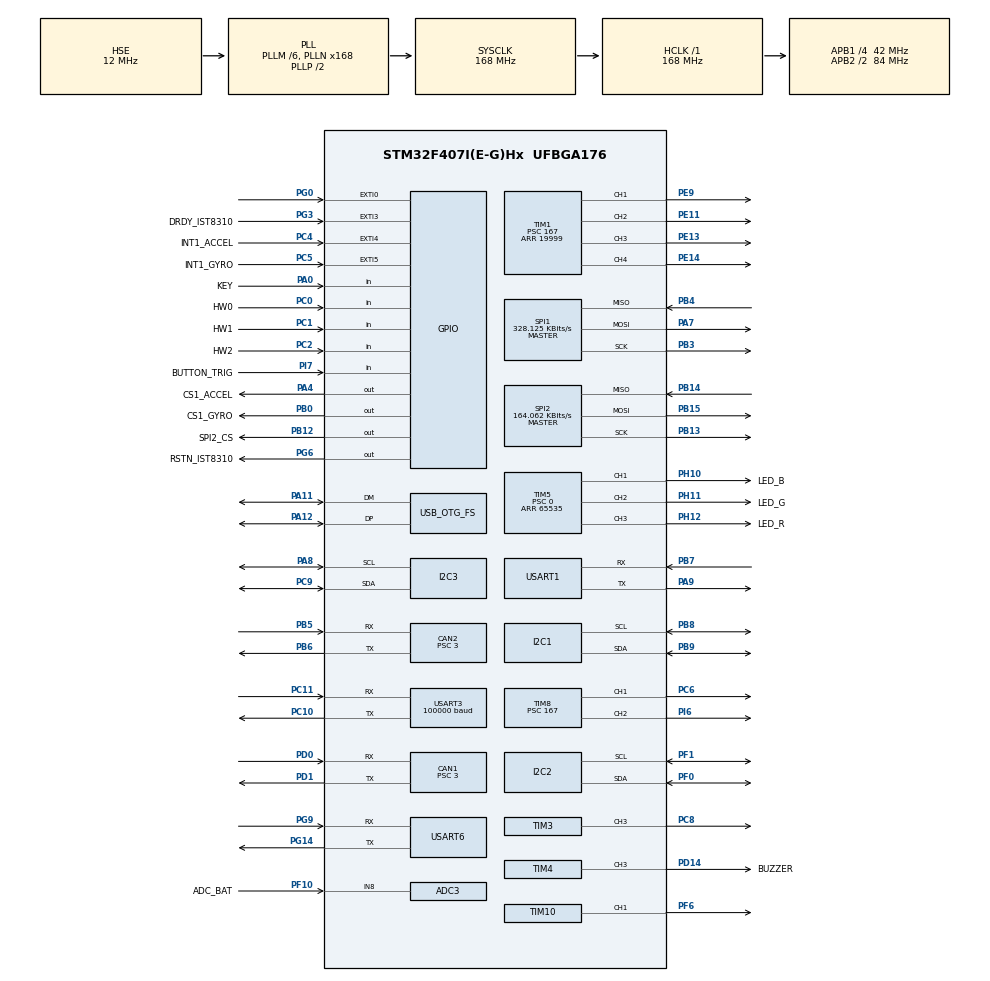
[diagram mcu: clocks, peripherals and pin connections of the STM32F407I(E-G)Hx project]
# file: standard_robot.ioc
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ADC1.Channel-0\#ChannelRegularConversion=ADC_CHANNEL_TEMPSENSOR
ADC1.ClockPrescaler=ADC_CLOCK_SYNC_PCLK_DIV6
ADC1.NbrOfConversionFlag=1
ADC1.Rank-0\#ChannelRegularConversion=1
ADC1.SamplingTime-0\#ChannelRegularConversion=ADC_SAMPLETIME_3CYCLES
ADC1.master=1
ADC3.Channel-0\#ChannelRegularConversion=ADC_CHANNEL_8
ADC3.ClockPrescaler=ADC_CLOCK_SYNC_PCLK_DIV6
ADC3.NbrOfConversionFlag=1
ADC3.Rank-0\#ChannelRegularConversion=1
ADC3.SamplingTime-0\#ChannelRegularConversion=ADC_SAMPLETIME_3CYCLES
CAN1.BS1=CAN_BS1_10TQ
CAN1.BS2=CAN_BS2_3TQ
CAN1.CalculateTimeQuantum=71.42857142857143
CAN1.Prescaler=3
CAN2.BS1=CAN_BS1_10TQ
CAN2.BS2=CAN_BS2_3TQ
CAN2.CalculateTimeQuantum=71.42857142857143
CAN2.Prescaler=3
Dma.I2C2_TX.2.Direction=DMA_MEMORY_TO_PERIPH
Dma.I2C2_TX.2.FIFOMode=DMA_FIFOMODE_DISABLE
Dma.I2C2_TX.2.Instance=DMA1_Stream7
Dma.I2C2_TX.2.MemDataAlignment=DMA_MDATAALIGN_BYTE
Dma.I2C2_TX.2.MemInc=DMA_MINC_ENABLE
Dma.I2C2_TX.2.Mode=DMA_NORMAL
Dma.I2C2_TX.2.PeriphDataAlignment=DMA_PDATAALIGN_BYTE
Dma.I2C2_TX.2.PeriphInc=DMA_PINC_DISABLE
Dma.I2C2_TX.2.Priority=DMA_PRIORITY_HIGH
Dma.Request0=SPI1_RX
Dma.Request1=SPI1_TX
Dma.Request2=I2C2_TX
Dma.Request3=USART3_RX
Dma.Request4=USART6_RX
Dma.Request5=USART6_TX
Dma.Request6=USART1_TX
Dma.Request7=USART1_RX
Dma.SPI1_RX.0.Direction=DMA_PERIPH_TO_MEMORY
Dma.SPI1_RX.0.FIFOMode=DMA_FIFOMODE_DISABLE
Dma.SPI1_RX.0.Instance=DMA2_Stream2
Dma.SPI1_RX.0.MemDataAlignment=DMA_MDATAALIGN_BYTE
Dma.SPI1_RX.0.MemInc=DMA_MINC_ENABLE
Dma.SPI1_RX.0.Mode=DMA_NORMAL
Dma.SPI1_RX.0.PeriphDataAlignment=DMA_PDATAALIGN_BYTE
Dma.SPI1_RX.0.PeriphInc=DMA_PINC_DISABLE
Dma.SPI1_RX.0.Priority=DMA_PRIORITY_VERY_HIGH
Dma.SPI1_TX.1.Direction=DMA_MEMORY_TO_PERIPH
Dma.SPI1_TX.1.FIFOMode=DMA_FIFOMODE_DISABLE
Dma.SPI1_TX.1.Instance=DMA2_Stream3
Dma.SPI1_TX.1.MemDataAlignment=DMA_MDATAALIGN_BYTE
Dma.SPI1_TX.1.MemInc=DMA_MINC_ENABLE
Dma.SPI1_TX.1.Mode=DMA_NORMAL
Dma.SPI1_TX.1.PeriphDataAlignment=DMA_PDATAALIGN_BYTE
Dma.SPI1_TX.1.PeriphInc=DMA_PINC_DISABLE
Dma.SPI1_TX.1.Priority=DMA_PRIORITY_HIGH
Dma.USART1_RX.7.Direction=DMA_PERIPH_TO_MEMORY
Dma.USART1_RX.7.FIFOMode=DMA_FIFOMODE_DISABLE
Dma.USART1_RX.7.Instance=DMA2_Stream5
Dma.USART1_RX.7.MemDataAlignment=DMA_MDATAALIGN_BYTE
Dma.USART1_RX.7.MemInc=DMA_MINC_ENABLE
Dma.USART1_RX.7.Mode=DMA_NORMAL
Dma.USART1_RX.7.PeriphDataAlignment=DMA_PDATAALIGN_BYTE
Dma.USART1_RX.7.PeriphInc=DMA_PINC_DISABLE
Dma.USART1_RX.7.Priority=DMA_PRIORITY_MEDIUM
Dma.USART1_TX.6.Direction=DMA_MEMORY_TO_PERIPH
Dma.USART1_TX.6.FIFOMode=DMA_FIFOMODE_DISABLE
Dma.USART1_TX.6.Instance=DMA2_Stream7
Dma.USART1_TX.6.MemDataAlignment=DMA_MDATAALIGN_BYTE
Dma.USART1_TX.6.MemInc=DMA_MINC_ENABLE
Dma.USART1_TX.6.Mode=DMA_NORMAL
Dma.USART1_TX.6.PeriphDataAlignment=DMA_PDATAALIGN_BYTE
Dma.USART1_TX.6.PeriphInc=DMA_PINC_DISABLE
Dma.USART1_TX.6.Priority=DMA_PRIORITY_MEDIUM
Dma.USART3_RX.3.Direction=DMA_PERIPH_TO_MEMORY
Dma.USART3_RX.3.FIFOMode=DMA_FIFOMODE_DISABLE
Dma.USART3_RX.3.Instance=DMA1_Stream1
Dma.USART3_RX.3.MemDataAlignment=DMA_MDATAALIGN_BYTE
Dma.USART3_RX.3.MemInc=DMA_MINC_ENABLE
Dma.USART3_RX.3.Mode=DMA_NORMAL
Dma.USART3_RX.3.PeriphDataAlignment=DMA_PDATAALIGN_BYTE
Dma.USART3_RX.3.PeriphInc=DMA_PINC_DISABLE
Dma.USART3_RX.3.Priority=DMA_PRIORITY_HIGH
Dma.USART6_RX.4.Direction=DMA_PERIPH_TO_MEMORY
Dma.USART6_RX.4.FIFOMode=DMA_FIFOMODE_DISABLE
Dma.USART6_RX.4.Instance=DMA2_Stream1
Dma.USART6_RX.4.MemDataAlignment=DMA_MDATAALIGN_BYTE
Dma.USART6_RX.4.MemInc=DMA_MINC_ENABLE
Dma.USART6_RX.4.Mode=DMA_NORMAL
Dma.USART6_RX.4.PeriphDataAlignment=DMA_PDATAALIGN_BYTE
Dma.USART6_RX.4.PeriphInc=DMA_PINC_DISABLE
Dma.USART6_RX.4.Priority=DMA_PRIORITY_HIGH
Dma.USART6_TX.5.Direction=DMA_MEMORY_TO_PERIPH
Dma.USART6_TX.5.FIFOMode=DMA_FIFOMODE_DISABLE
Dma.USART6_TX.5.Instance=DMA2_Stream6
Dma.USART6_TX.5.MemDataAlignment=DMA_MDATAALIGN_BYTE
Dma.USART6_TX.5.MemInc=DMA_MINC_ENABLE
Dma.USART6_TX.5.Mode=DMA_NORMAL
Dma.USART6_TX.5.PeriphDataAlignment=DMA_PDATAALIGN_BYTE
Dma.USART6_TX.5.PeriphInc=DMA_PINC_DISABLE
Dma.USART6_TX.5.Priority=DMA_PRIORITY_MEDIUM
FREERTOS.INCLUDE_eTaskGetState=1
FREERTOS.INCLUDE_pcTaskGetTaskName=1
FREERTOS.INCLUDE_uxTaskGetStackHighWaterMark=1
FREERTOS.INCLUDE_vTaskCleanUpResources=1
FREERTOS.INCLUDE_vTaskDelayUntil=1
FREERTOS.INCLUDE_xEventGroupSetBitFromISR=1
FREERTOS.INCLUDE_xQueueGetMutexHolder=1
FREERTOS.INCLUDE_xSemaphoreGetMutexHolder=1
FREERTOS.INCLUDE_xTaskAbortDelay=1
FREERTOS.INCLUDE_xTaskGetCurrentTaskHandle=1
FREERTOS.INCLUDE_xTaskGetHandle=1
FREERTOS.INCLUDE_xTimerPendFunctionCall=1
FREERTOS.Tasks01=test,24,128,test_task,As weak,NULL,Dynamic,NULL,NULL
FREERTOS.configTOTAL_HEAP_SIZE=24576
I2C1.I2C_Mode=I2C_Fast
I2C2.I2C_Mode=I2C_Fast
I2C3.I2C_Mode=I2C_Fast
Mcu.Family=STM32F4
Mcu.Name=STM32F407I(E-G)Hx
Mcu.Package=UFBGA176
NVIC.CAN1_RX0_IRQn=true\:6\:0\:true\:false\:true\:true\:true\:true\:true
NVIC.CAN2_RX0_IRQn=true\:6\:0\:true\:false\:true\:true\:true\:true\:true
NVIC.DMA1_Stream1_IRQn=true\:5\:0\:true\:false\:false\:true\:false\:false\:true
NVIC.DMA1_Stream7_IRQn=true\:5\:0\:true\:false\:false\:true\:false\:true\:true
NVIC.DMA2_Stream1_IRQn=true\:5\:0\:true\:false\:true\:true\:false\:true\:true
NVIC.DMA2_Stream2_IRQn=true\:5\:0\:true\:false\:false\:true\:false\:true\:true
NVIC.DMA2_Stream3_IRQn=true\:5\:0\:true\:false\:false\:true\:false\:true\:true
NVIC.DMA2_Stream5_IRQn=true\:5\:0\:false\:false\:true\:true\:false\:true\:true
NVIC.DMA2_Stream6_IRQn=true\:5\:0\:true\:false\:true\:true\:false\:true\:true
NVIC.DMA2_Stream7_IRQn=true\:5\:0\:true\:false\:true\:true\:false\:true\:true
NVIC.EXTI0_IRQn=true\:6\:0\:true\:false\:true\:true\:true\:true\:true
NVIC.EXTI3_IRQn=true\:5\:0\:true\:false\:true\:true\:true\:true\:true
NVIC.EXTI4_IRQn=true\:5\:0\:true\:false\:true\:true\:true\:true\:true
NVIC.EXTI9_5_IRQn=true\:5\:0\:true\:false\:true\:true\:true\:true\:true
NVIC.OTG_FS_IRQn=true\:5\:0\:false\:false\:true\:true\:false\:true\:true
NVIC.PriorityGroup=NVIC_PRIORITYGROUP_4
NVIC.USART1_IRQn=true\:5\:0\:false\:false\:true\:true\:true\:true\:true
NVIC.USART3_IRQn=true\:4\:0\:true\:false\:false\:false\:true\:true\:true
NVIC.USART6_IRQn=true\:5\:0\:true\:false\:false\:true\:true\:true\:true
PA0-WKUP.GPIO_Label=KEY
PA0-WKUP.GPIO_PuPd=GPIO_PULLUP
PA0-WKUP.Signal=GPIO_Input
PA11.Mode=Device_Only
PA11.Signal=USB_OTG_FS_DM
PA12.Mode=Device_Only
PA12.Signal=USB_OTG_FS_DP
PA13.Mode=Serial_Wire
PA13.Signal=SYS_JTMS-SWDIO
PA14.Mode=Serial_Wire
PA14.Signal=SYS_JTCK-SWCLK
PA4.GPIO_Label=CS1_ACCEL
PA4.GPIO_PuPd=GPIO_PULLUP
PA4.GPIO_Speed=GPIO_SPEED_FREQ_HIGH
PA4.PinState=GPIO_PIN_SET
PA4.Signal=GPIO_Output
PA7.GPIO_PuPd=GPIO_PULLUP
PA7.Mode=Full_Duplex_Master
PA7.Signal=SPI1_MOSI
PA8.Mode=I2C
PA8.Signal=I2C3_SCL
PA9.Mode=Asynchronous
PA9.Signal=USART1_TX
PB0.GPIO_Label=CS1_GYRO
PB0.GPIO_PuPd=GPIO_PULLUP
PB0.GPIO_Speed=GPIO_SPEED_FREQ_HIGH
PB0.PinState=GPIO_PIN_SET
PB0.Signal=GPIO_Output
PB12.GPIO_Label=SPI2_CS
PB12.GPIO_PuPd=GPIO_PULLUP
PB12.GPIO_Speed=GPIO_SPEED_FREQ_MEDIUM
PB12.PinState=GPIO_PIN_SET
PB12.Signal=GPIO_Output
PB13.GPIO_PuPd=GPIO_PULLUP
PB13.Mode=Full_Duplex_Master
PB13.Signal=SPI2_SCK
PB14.GPIO_PuPd=GPIO_PULLUP
PB14.Mode=Full_Duplex_Master
PB14.Signal=SPI2_MISO
PB15.GPIO_PuPd=GPIO_PULLUP
PB15.Mode=Full_Duplex_Master
PB15.Signal=SPI2_MOSI
PB3.GPIO_PuPd=GPIO_PULLUP
PB3.Mode=Full_Duplex_Master
PB3.Signal=SPI1_SCK
PB4.GPIO_PuPd=GPIO_PULLUP
PB4.Mode=Full_Duplex_Master
PB4.Signal=SPI1_MISO
PB5.Mode=Slave
PB5.Signal=CAN2_RX
PB6.Mode=Slave
PB6.Signal=CAN2_TX
PB7.Mode=Asynchronous
PB7.Signal=USART1_RX
PB8.Mode=I2C
PB8.Signal=I2C1_SCL
PB9.Mode=I2C
PB9.Signal=I2C1_SDA
PC0.GPIO_Label=HW0
PC0.Signal=GPIO_Input
PC1.GPIO_Label=HW1
PC1.Signal=GPIO_Input
PC10.Mode=Asynchronous
PC10.Signal=USART3_TX
PC11.Mode=Asynchronous
PC11.Signal=USART3_RX
PC2.GPIO_Label=HW2
PC2.Signal=GPIO_Input
PC4.GPIO_Label=INT1_ACCEL
PC4.GPIO_ModeDefaultEXTI=GPIO_MODE_IT_FALLING
PC4.GPIO_PuPd=GPIO_PULLUP
PC4.Signal=GPXTI4
PC5.GPIO_Label=INT1_GYRO
PC5.GPIO_ModeDefaultEXTI=GPIO_MODE_IT_FALLING
PC5.GPIO_PuPd=GPIO_PULLUP
PC5.Signal=GPXTI5
PC6.GPIO_PuPd=GPIO_PULLUP
PC6.GPIO_Speed=GPIO_SPEED_FREQ_HIGH
PC6.Signal=S_TIM8_CH1
PC8.GPIO_PuPd=GPIO_PULLUP
PC8.GPIO_Speed=GPIO_SPEED_FREQ_HIGH
PC8.Signal=S_TIM3_CH3
PC9.Mode=I2C
PC9.Signal=I2C3_SDA
PD0.Mode=Master
PD0.Signal=CAN1_RX
PD1.Mode=Master
PD1.Signal=CAN1_TX
PD14.GPIO_Label=BUZZER
PD14.GPIO_PuPd=GPIO_PULLUP
PD14.GPIO_Speed=GPIO_SPEED_FREQ_VERY_HIGH
PD14.Signal=S_TIM4_CH3
PE11.GPIO_PuPd=GPIO_PULLUP
PE11.GPIO_Speed=GPIO_SPEED_FREQ_HIGH
PE11.Signal=S_TIM1_CH2
PE13.GPIO_PuPd=GPIO_PULLUP
PE13.GPIO_Speed=GPIO_SPEED_FREQ_HIGH
PE13.Signal=S_TIM1_CH3
PE14.GPIO_PuPd=GPIO_PULLUP
PE14.GPIO_Speed=GPIO_SPEED_FREQ_HIGH
PE14.Signal=S_TIM1_CH4
PE9.GPIO_PuPd=GPIO_PULLUP
PE9.GPIO_Speed=GPIO_SPEED_FREQ_HIGH
PE9.Signal=S_TIM1_CH1
PF0.Mode=I2C
PF0.Signal=I2C2_SDA
PF1.Mode=I2C
PF1.Signal=I2C2_SCL
PF10.GPIO_Label=ADC_BAT
PF10.Mode=IN8
PF10.Signal=ADC3_IN8
PF6.GPIO_PuPd=GPIO_PULLUP
PF6.GPIO_Speed=GPIO_SPEED_FREQ_HIGH
PF6.Signal=S_TIM10_CH1
PG0.GPIO_ModeDefaultEXTI=GPIO_MODE_IT_FALLING
PG0.GPIO_PuPd=GPIO_PULLUP
PG0.Signal=GPXTI0
PG14.Mode=Asynchronous
PG14.Signal=USART6_TX
PG3.GPIO_Label=DRDY_IST8310
PG3.GPIO_ModeDefaultEXTI=GPIO_MODE_IT_FALLING
PG3.GPIO_PuPd=GPIO_PULLUP
PG3.Signal=GPXTI3
PG6.GPIO_Label=RSTN_IST8310
PG6.GPIO_PuPd=GPIO_PULLUP
PG6.GPIO_Speed=GPIO_SPEED_FREQ_MEDIUM
PG6.PinState=GPIO_PIN_SET
PG6.Signal=GPIO_Output
PG9.Mode=Asynchronous
PG9.Signal=USART6_RX
PH0-OSC_IN.Mode=HSE-External-Oscillator
PH0-OSC_IN.Signal=RCC_OSC_IN
PH1-OSC_OUT.Mode=HSE-External-Oscillator
PH1-OSC_OUT.Signal=RCC_OSC_OUT
PH10.GPIO_Label=LED_B
PH10.GPIO_PuPd=GPIO_PULLUP
PH10.GPIO_Speed=GPIO_SPEED_FREQ_HIGH
PH10.Signal=S_TIM5_CH1
PH11.GPIO_Label=LED_G
PH11.GPIO_PuPd=GPIO_PULLUP
PH11.GPIO_Speed=GPIO_SPEED_FREQ_HIGH
PH11.Signal=S_TIM5_CH2
PH12.GPIO_Label=LED_R
PH12.GPIO_PuPd=GPIO_PULLUP
PH12.GPIO_Speed=GPIO_SPEED_FREQ_HIGH
PH12.Signal=S_TIM5_CH3
PI6.GPIO_PuPd=GPIO_PULLUP
PI6.GPIO_Speed=GPIO_SPEED_FREQ_HIGH
PI6.Signal=S_TIM8_CH2
PI7.GPIO_Label=BUTTON_TRIG
PI7.GPIO_PuPd=GPIO_PULLUP
PI7.Signal=GPIO_Input
ProjectManager.HeapSize=0x2000
ProjectManager.StackSize=0x2000
ProjectManager.TargetToolchain=MDK-ARM V5
RCC.48MHZClocksFreq_Value=48000000
RCC.AHBFreq_Value=168000000
RCC.APB1CLKDivider=RCC_HCLK_DIV4
RCC.APB1Freq_Value=42000000
RCC.APB1TimFreq_Value=84000000
RCC.APB2CLKDivider=RCC_HCLK_DIV2
RCC.APB2Freq_Value=84000000
RCC.APB2TimFreq_Value=168000000
RCC.CortexFreq_Value=168000000
RCC.HCLKFreq_Value=168000000
RCC.HSE_VALUE=12000000
RCC.HSI_VALUE=16000000
RCC.LSE_VALUE=32768
RCC.PLLM=6
RCC.PLLN=168
RCC.PLLQ=7
RCC.RCC_RTC_Clock_SourceVirtual=RCC_RTCCLKSOURCE_HSE_DIV30
RCC.RCC_RTC_Clock_Source_FROM_HSE=RCC_RTCCLKSOURCE_HSE_DIV30
RCC.SYSCLKFreq_VALUE=168000000
RCC.SYSCLKSource=RCC_SYSCLKSOURCE_PLLCLK
RCC.VCOOutputFreq_Value=336000000
RTC.AsynchPrediv=124
RTC.SynchPrediv=3199
SH.S_TIM10_CH1.0=TIM10_CH1,PWM Generation1 CH1
SH.S_TIM1_CH1.0=TIM1_CH1,PWM Generation1 CH1
SH.S_TIM1_CH2.0=TIM1_CH2,PWM Generation2 CH2
SH.S_TIM1_CH3.0=TIM1_CH3,PWM Generation3 CH3
SH.S_TIM1_CH4.0=TIM1_CH4,PWM Generation4 CH4
SH.S_TIM3_CH3.0=TIM3_CH3,PWM Generation3 CH3
SH.S_TIM4_CH3.0=TIM4_CH3,PWM Generation3 CH3
SH.S_TIM5_CH1.0=TIM5_CH1,PWM Generation1 CH1
SH.S_TIM5_CH2.0=TIM5_CH2,PWM Generation2 CH2
SH.S_TIM5_CH3.0=TIM5_CH3,PWM Generation3 CH3
SH.S_TIM8_CH1.0=TIM8_CH1,PWM Generation1 CH1
SH.S_TIM8_CH2.0=TIM8_CH2,PWM Generation2 CH2
SPI1.BaudRatePrescaler=SPI_BAUDRATEPRESCALER_256
SPI1.CLKPhase=SPI_PHASE_2EDGE
SPI1.CLKPolarity=SPI_POLARITY_HIGH
SPI1.CalculateBaudRate=328.125 KBits/s
SPI1.Direction=SPI_DIRECTION_2LINES
SPI1.Mode=SPI_MODE_MASTER
SPI1.VirtualType=VM_MASTER
SPI2.BaudRatePrescaler=SPI_BAUDRATEPRESCALER_256
SPI2.CLKPhase=SPI_PHASE_2EDGE
SPI2.CLKPolarity=SPI_POLARITY_HIGH
SPI2.CalculateBaudRate=164.062 KBits/s
SPI2.Direction=SPI_DIRECTION_2LINES
SPI2.Mode=SPI_MODE_MASTER
SPI2.VirtualType=VM_MASTER
TIM1.Channel-PWM\ Generation1\ CH1=TIM_CHANNEL_1
TIM1.Channel-PWM\ Generation2\ CH2=TIM_CHANNEL_2
TIM1.Channel-PWM\ Generation3\ CH3=TIM_CHANNEL_3
TIM1.Channel-PWM\ Generation4\ CH4=TIM_CHANNEL_4
TIM1.Period=19999
TIM1.Prescaler=167
TIM1.Pulse-PWM\ Generation1\ CH1=1000
TIM1.Pulse-PWM\ Generation2\ CH2=1000
TIM1.Pulse-PWM\ Generation3\ CH3=1000
TIM1.Pulse-PWM\ Generation4\ CH4=1000
TIM10.Channel=TIM_CHANNEL_1
TIM10.Period=4999
TIM3.Channel-PWM\ Generation3\ CH3=TIM_CHANNEL_3
TIM3.Period=8399
TIM4.Channel-PWM\ Generation3\ CH3=TIM_CHANNEL_3
TIM4.Period=65535
TIM4.Prescaler=167
TIM5.Channel-PWM\ Generation1\ CH1=TIM_CHANNEL_1
TIM5.Channel-PWM\ Generation2\ CH2=TIM_CHANNEL_2
TIM5.Channel-PWM\ Generation3\ CH3=TIM_CHANNEL_3
TIM5.Period=65535
TIM5.Prescaler=0
TIM8.Channel-PWM\ Generation1\ CH1=TIM_CHANNEL_1
TIM8.Channel-PWM\ Generation2\ CH2=TIM_CHANNEL_2
TIM8.Period=19999
TIM8.Prescaler=167
TIM8.Pulse-PWM\ Generation1\ CH1=1000
TIM8.Pulse-PWM\ Generation2\ CH2=1000
USART1.VirtualMode=VM_ASYNC
USART3.BaudRate=100000
USART3.Parity=PARITY_EVEN
USART3.VirtualMode=VM_ASYNC
USART6.VirtualMode=VM_ASYNC
USB_DEVICE.CLASS_NAME_FS=CDC
USB_DEVICE.VirtualMode-CDC_FS=Cdc
USB_DEVICE.VirtualModeFS=Cdc_FS
USB_OTG_FS.VirtualMode=Device_Only
VP_ADC1_TempSens_Input.Mode=IN-TempSens
VP_ADC1_Vref_Input.Mode=IN-Vrefint
VP_CRC_VS_CRC.Mode=CRC_Activate
VP_FREERTOS_VS_CMSIS_V1.Mode=CMSIS_V1
VP_RNG_VS_RNG.Mode=RNG_Activate
VP_RTC_VS_RTC_Activate.Mode=RTC_Enabled
VP_TIM10_VS_ClockSourceINT.Mode=Enable_Timer
VP_TIM1_VS_ClockSourceINT.Mode=Internal
VP_TIM3_VS_ClockSourceINT.Mode=Internal
VP_TIM4_VS_ClockSourceINT.Mode=Internal
VP_TIM5_VS_ClockSourceINT.Mode=Internal
VP_TIM8_VS_ClockSourceINT.Mode=Internal
VP_USB_DEVICE_VS_USB_DEVICE_CDC_FS.Mode=CDC_FS
board=custom

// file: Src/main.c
/* USER CODE BEGIN Header */
/**
  ******************************************************************************
  * @file           : main.c
  * @brief          : Main program body
  ******************************************************************************
  * @attention
  *
  * <h2><center>&copy; Copyright (c) 2019 STMicroelectronics.
  * All rights reserved.</center></h2>
  *
  * This software component is licensed by ST under Ultimate Liberty license
  * SLA0044, the "License"; You may not use this file except in compliance with
  * the License. You may obtain a copy of the License at:
  *                             www.st.com/SLA0044
  *
  ******************************************************************************
  */
/* USER CODE END Header */

#include "main.h"
#include "cmsis_os.h"
#include "adc.h"
#include "can.h"
#include "crc.h"
#include "dma.h"
#include "i2c.h"
#include "rng.h"
#include "rtc.h"
#include "spi.h"
#include "tim.h"
#include "usart.h"
#include "usb_device.h"
#include "gpio.h"

/* USER CODE BEGIN Includes */
#include "bsp_can.h"
#include "bsp_delay.h"
#include "bsp_usart.h"
#include "remote_control.h"

#include "calibrate_task.h"
#include "chassis_task.h"
#include "detect_task.h"
#include "gimbal_task.h"
#include "IMU_task.h"
#include "led_flow_task.h"
#include "oled_task.h"
#include "referee_usart_task.h"
#include "usb_task.h"
#include "voltage_task.h"
/* USER CODE END Includes */

void SystemClock_Config(void);
void MX_FREERTOS_Init(void);

int main(void)
{

  /* MCU Configuration--------------------------------------------------------*/

  /* Reset of all peripherals, Initializes the Flash interface and the Systick. */
  HAL_Init();

  /* Configure the system clock */
  SystemClock_Config();

  /* Initialize all configured peripherals */
  MX_GPIO_Init();
  MX_DMA_Init();
  MX_ADC1_Init();
  MX_ADC3_Init();
  MX_CAN1_Init();
  MX_CAN2_Init();
  MX_I2C1_Init();
  MX_SPI1_Init();
  MX_TIM4_Init();
  MX_TIM5_Init();
  MX_USART3_UART_Init();
  MX_TIM8_Init();
  MX_CRC_Init();
  MX_RNG_Init();
  MX_I2C2_Init();
  MX_I2C3_Init();
  MX_RTC_Init();
  MX_SPI2_Init();
  MX_TIM1_Init();
  MX_TIM3_Init();
  MX_TIM10_Init();
  MX_USART1_UART_Init();
  MX_USART6_UART_Init();
  /* USER CODE BEGIN 2 */
    can_filter_init();
    delay_init();
    cali_param_init();
    remote_control_init();
    usart1_tx_dma_init();
  /* USER CODE END 2 */

  /* Call init function for freertos objects (in freertos.c) */
  MX_FREERTOS_Init();

  /* Start scheduler */
  osKernelStart();

  /* We should never get here as control is now taken by the scheduler */

  /* Infinite loop */
  while (1)
  {

  }
}

void SystemClock_Config(void)
{
  RCC_OscInitTypeDef RCC_OscInitStruct = {0};
  RCC_ClkInitTypeDef RCC_ClkInitStruct = {0};
  RCC_PeriphCLKInitTypeDef PeriphClkInitStruct = {0};

  /** Configure the main internal regulator output voltage
  */
  __HAL_RCC_PWR_CLK_ENABLE();
  __HAL_PWR_VOLTAGESCALING_CONFIG(PWR_REGULATOR_VOLTAGE_SCALE1);
  /** Initializes the CPU, AHB and APB busses clocks
  */
  RCC_OscInitStruct.OscillatorType = RCC_OSCILLATORTYPE_HSE;
  RCC_OscInitStruct.HSEState = RCC_HSE_ON;
  RCC_OscInitStruct.PLL.PLLState = RCC_PLL_ON;
  RCC_OscInitStruct.PLL.PLLSource = RCC_PLLSOURCE_HSE;
  RCC_OscInitStruct.PLL.PLLM = 6;
  RCC_OscInitStruct.PLL.PLLN = 168;
  RCC_OscInitStruct.PLL.PLLP = RCC_PLLP_DIV2;
  RCC_OscInitStruct.PLL.PLLQ = 7;
  if (HAL_RCC_OscConfig(&RCC_OscInitStruct) != HAL_OK)
  {
    Error_Handler();
  }
  /** Initializes the CPU, AHB and APB busses clocks
  */
  RCC_ClkInitStruct.ClockType = RCC_CLOCKTYPE_HCLK|RCC_CLOCKTYPE_SYSCLK
                              |RCC_CLOCKTYPE_PCLK1|RCC_CLOCKTYPE_PCLK2;
  RCC_ClkInitStruct.SYSCLKSource = RCC_SYSCLKSOURCE_PLLCLK;
  RCC_ClkInitStruct.AHBCLKDivider = RCC_SYSCLK_DIV1;
  RCC_ClkInitStruct.APB1CLKDivider = RCC_HCLK_DIV4;
  RCC_ClkInitStruct.APB2CLKDivider = RCC_HCLK_DIV2;

  if (HAL_RCC_ClockConfig(&RCC_ClkInitStruct, FLASH_LATENCY_5) != HAL_OK)
  {
    Error_Handler();
  }
  PeriphClkInitStruct.PeriphClockSelection = RCC_PERIPHCLK_RTC;
  PeriphClkInitStruct.RTCClockSelection = RCC_RTCCLKSOURCE_HSE_DIV30;
  if (HAL_RCCEx_PeriphCLKConfig(&PeriphClkInitStruct) != HAL_OK)
  {
    Error_Handler();
  }
}

void Error_Handler(void)
{
}

/************************ (C) COPYRIGHT STMicroelectronics *****END OF FILE****/

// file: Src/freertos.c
/* USER CODE BEGIN Header */
/**
  ******************************************************************************
  * File Name          : freertos.c
  * Description        : Code for freertos applications
  ******************************************************************************
  * @attention
  *
  * <h2><center>&copy; Copyright (c) 2019 STMicroelectronics.
  * All rights reserved.</center></h2>
  *
  * This software component is licensed by ST under Ultimate Liberty license
  * SLA0044, the "License"; You may not use this file except in compliance with
  * the License. You may obtain a copy of the License at:
  *                             www.st.com/SLA0044
  *
  ******************************************************************************
  */
/* USER CODE END Header */

#include "FreeRTOS.h"
#include "task.h"
#include "main.h"
#include "cmsis_os.h"
#include "robot_param.h"

/* USER CODE BEGIN Includes */

#include "calibrate_task.h"
#include "chassis_task.h"
#include "detect_task.h"
#include "gimbal_task.h"
#include "IMU_task.h"
#include "led_flow_task.h"
#include "oled_task.h"
#include "referee_usart_task.h"
#include "usb_task.h"
#include "voltage_task.h"
#include "servo_task.h"
#include "shoot_task.h"
#include "mechanical_arm_task.h"
#include "music_task.h"
#include "develop_task.h"
#include "custom_controller_task.h"
#include "communication_task.h"
/* USER CODE END Includes */

/* USER CODE BEGIN PTD */

osThreadId calibrate_tast_handle;

osThreadId detect_handle;

osThreadId communication_handle;

#if (CHASSIS_TYPE != CHASSIS_NONE)
osThreadId chassisTaskHandle;
#endif

#if (GIMBAL_TYPE != GIMBAL_NONE)
osThreadId gimbalTaskHandle;
#endif

#if (SHOOT_TYPE != SHOOT_NONE)
osThreadId shootTaskHandle;
#endif

#if (MECHANICAL_ARM_TYPE != MECHANICAL_ARM_NONE)
osThreadId mechanical_armTaskHandle;
#endif

#if (CONTROL_TYPE != CUSTOM_CONTROLLER_NONE)
osThreadId customControllerTaskHandle;
#endif

#if (__MUSIC_ON)
osThreadId musicTaskHandle;
#endif

#if (__DEVELOP)
osThreadId developTaskHandle;
#endif

osThreadId imuTaskHandle;

osThreadId led_RGB_flow_handle;

osThreadId oled_handle;

osThreadId referee_usart_task_handle;

osThreadId usb_task_handle;

osThreadId battery_voltage_handle;

osThreadId servo_task_handle;

/* USER CODE END PTD */

osThreadId testHandle;

void test_task(void const * argument);

extern void MX_USB_DEVICE_Init(void);
void MX_FREERTOS_Init(void); /* (MISRA C 2004 rule 8.1) */

/* GetIdleTaskMemory prototype (linked to static allocation support) */
void vApplicationGetIdleTaskMemory( StaticTask_t **ppxIdleTaskTCBBuffer, StackType_t **ppxIdleTaskStackBuffer, uint32_t *pulIdleTaskStackSize );

/* GetTimerTaskMemory prototype (linked to static allocation support) */
void vApplicationGetTimerTaskMemory( StaticTask_t **ppxTimerTaskTCBBuffer, StackType_t **ppxTimerTaskStackBuffer, uint32_t *pulTimerTaskStackSize );

/* USER CODE BEGIN GET_IDLE_TASK_MEMORY */
static StaticTask_t xIdleTaskTCBBuffer;
static StackType_t xIdleStack[configMINIMAL_STACK_SIZE];

void vApplicationGetIdleTaskMemory( StaticTask_t **ppxIdleTaskTCBBuffer, StackType_t **ppxIdleTaskStackBuffer, uint32_t *pulIdleTaskStackSize )
{
  *ppxIdleTaskTCBBuffer = &xIdleTaskTCBBuffer;
  *ppxIdleTaskStackBuffer = &xIdleStack[0];
  *pulIdleTaskStackSize = configMINIMAL_STACK_SIZE;
  /* place for user code */
}
/* USER CODE END GET_IDLE_TASK_MEMORY */

/* USER CODE BEGIN GET_TIMER_TASK_MEMORY */
static StaticTask_t xTimerTaskTCBBuffer;
static StackType_t xTimerStack[configTIMER_TASK_STACK_DEPTH];

void vApplicationGetTimerTaskMemory( StaticTask_t **ppxTimerTaskTCBBuffer, StackType_t **ppxTimerTaskStackBuffer, uint32_t *pulTimerTaskStackSize )
{
  *ppxTimerTaskTCBBuffer = &xTimerTaskTCBBuffer;
  *ppxTimerTaskStackBuffer = &xTimerStack[0];
  *pulTimerTaskStackSize = configTIMER_TASK_STACK_DEPTH;
  /* place for user code */
}
/* USER CODE END GET_TIMER_TASK_MEMORY */

void MX_FREERTOS_Init(void) {

  /* Create the thread(s) */
  /* definition and creation of test */
  osThreadDef(test, test_task, osPriorityNormal, 0, 128);
  testHandle = osThreadCreate(osThread(test), NULL);

  /* USER CODE BEGIN RTOS_THREADS */
  /* add threads, ... */
    osThreadDef(cali, calibrate_task, osPriorityNormal, 0, 512);
    calibrate_tast_handle = osThreadCreate(osThread(cali), NULL);

    osThreadDef(DETECT, detect_task, osPriorityNormal, 0, 256);
    detect_handle = osThreadCreate(osThread(DETECT), NULL);

    osThreadDef(COMMUNICATION, communication_task, osPriorityNormal, 0, 256);
    communication_handle = osThreadCreate(osThread(COMMUNICATION), NULL);

#if (CHASSIS_TYPE != CHASSIS_NONE)
    osThreadDef(ChassisTask, chassis_task, osPriorityAboveNormal, 0, 512);
    chassisTaskHandle = osThreadCreate(osThread(ChassisTask), NULL);
#endif

#if (GIMBAL_TYPE != GIMBAL_NONE)
    osThreadDef(gimbalTask, gimbal_task, osPriorityHigh, 0, 512);
    gimbalTaskHandle = osThreadCreate(osThread(gimbalTask), NULL);
#endif

#if (SHOOT_TYPE != SHOOT_NONE)
    osThreadDef(shootTask, shoot_task, osPriorityHigh, 0, 512);
    shootTaskHandle = osThreadCreate(osThread(shootTask), NULL);
#endif

#if (MECHANICAL_ARM_TYPE != MECHANICAL_ARM_NONE)
    osThreadDef(mechanical_armTask, mechanical_arm_task, osPriorityHigh, 0, 512);
    mechanical_armTaskHandle = osThreadCreate(osThread(mechanical_armTask), NULL);
#endif

#if (CONTROL_TYPE != CUSTOM_CONTROLLER_NONE)
    osThreadDef(customControllerTask, custom_controller_task, osPriorityHigh, 0, 512);
    customControllerTaskHandle = osThreadCreate(osThread(customControllerTask), NULL);
#endif

#if (__MUSIC_ON)
    osThreadDef(musicTask, music_task, osPriorityNormal, 0, 256);
    musicTaskHandle = osThreadCreate(osThread(musicTask), NULL);
#endif

#if (__DEVELOP)
    osThreadDef(developTask, develop_task, osPriorityNormal, 0, 256);
    developTaskHandle = osThreadCreate(osThread(developTask), NULL);
#endif

    osThreadDef(imuTask, IMU_task, osPriorityRealtime, 0, 1024);
    imuTaskHandle = osThreadCreate(osThread(imuTask), NULL);

    osThreadDef(led, led_RGB_flow_task, osPriorityNormal, 0, 256);
    led_RGB_flow_handle = osThreadCreate(osThread(led), NULL);

    osThreadDef(OLED, oled_task, osPriorityLow, 0, 256);
    oled_handle = osThreadCreate(osThread(OLED), NULL);

    osThreadDef(REFEREE, referee_usart_task, osPriorityNormal, 0, 128);
    referee_usart_task_handle = osThreadCreate(osThread(REFEREE), NULL);

    osThreadDef(USBTask, usb_task, osPriorityNormal, 0, 128);
    usb_task_handle = osThreadCreate(osThread(USBTask), NULL);

    osThreadDef(BATTERY_VOLTAGE, battery_voltage_task, osPriorityNormal, 0, 128);
    battery_voltage_handle = osThreadCreate(osThread(BATTERY_VOLTAGE), NULL);

    osThreadDef(SERVO, servo_task, osPriorityNormal, 0, 128);
    servo_task_handle = osThreadCreate(osThread(SERVO), NULL);

  /* USER CODE END RTOS_THREADS */

}

__weak void test_task(void const * argument)
{
  /* init code for USB_DEVICE */
  MX_USB_DEVICE_Init();

  for(;;)
  {
    osDelay(1);
  }
}

/************************ (C) COPYRIGHT STMicroelectronics *****END OF FILE****/
